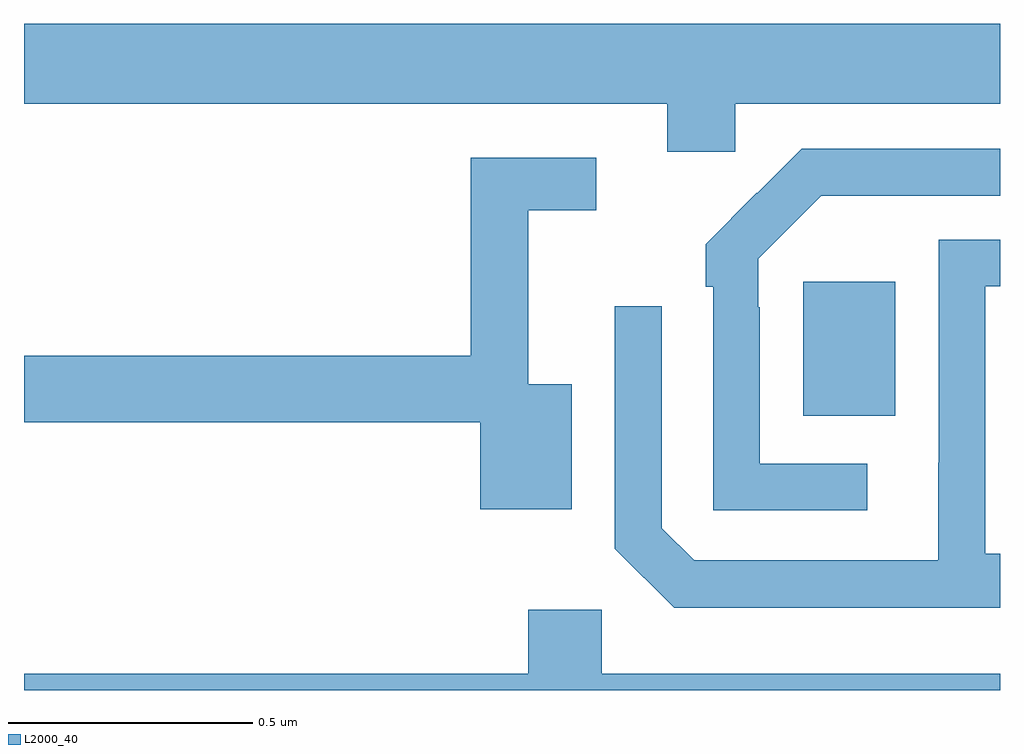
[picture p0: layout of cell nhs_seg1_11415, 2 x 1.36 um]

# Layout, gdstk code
import gdstk
lib = gdstk.Library(unit=1e-6, precision=1e-09)
def R(c, l, rs):  # rectangles x0, y0, x1, y1
    for r in rs: c.add(gdstk.rectangle(r[:2], r[2:], *l))
def P(c, l, *ps):  # polygons
    for p in ps: c.add(gdstk.Polygon(p, *l))
L2000_40 = (2000, 40)

nhs_seg1_11415 = lib.new_cell('nhs_seg1_11415')
R(nhs_seg1_11415, L2000_40, [(254.597,549.761,254.785,550.036)])
P(nhs_seg1_11415, L2000_40, [(254.457,550.4),(255,550.4),(255,550.564),(253,550.564),(253,550.4),(254.318,550.4),(254.318,550.302),(254.457,550.302)],
  [(254.728,549.663),(254.508,549.663),(254.508,549.983),(254.505,549.983),(254.505,550.083),(254.634,550.212),(255,550.212),(255,550.308),(254.594,550.308),(254.503,550.217),(254.502,550.218),(254.397,550.113),(254.397,550.025),(254.412,550.025),(254.412,549.567),(254.728,549.567)],
  [(254.122,549.826),(254.033,549.826),(254.033,550.182),(254.173,550.182),(254.173,550.29),(253.915,550.29),(253.915,549.884),(253,549.884),(253,549.748),(253.935,549.748),(253.935,549.569),(254.122,549.569)],
  [(255,549.478),(254.97,549.478),(254.97,550.026),(255,550.026),(255,550.122),(254.874,550.122),(254.874,549.665),(254.873,549.665),(254.873,549.465),(254.373,549.465),(254.307,549.531),(254.307,549.985),(254.211,549.985),(254.211,549.489),(254.332,549.368),(255,549.368)],
  [(255,549.232),(254.184,549.232),(254.184,549.364),(254.033,549.364),(254.033,549.232),(253,549.232),(253,549.199),(255,549.199)])

lib.write_gds('nhs_seg1_11415.gds')
